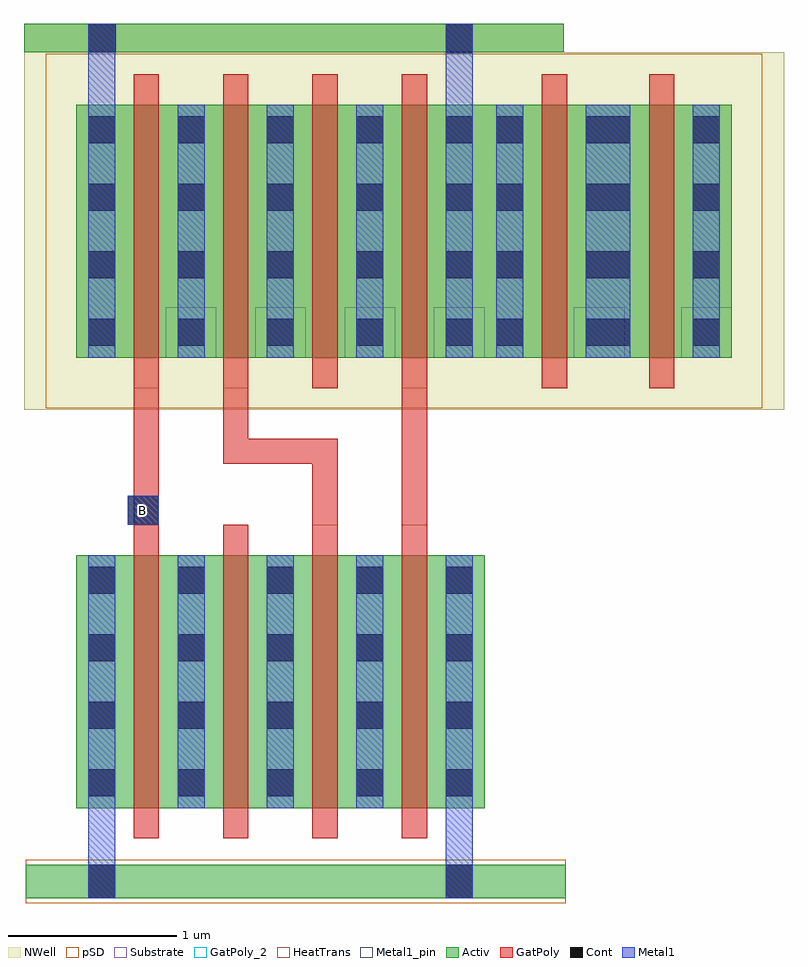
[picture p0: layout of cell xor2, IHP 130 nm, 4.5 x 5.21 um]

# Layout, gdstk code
import gdstk
lib = gdstk.Library(unit=1e-6, precision=5e-09)
def R(c, l, rs):  # rectangles x0, y0, x1, y1
    for r in rs: c.add(gdstk.rectangle(r[:2], r[2:], *l))
def A(c, l, x, y, w, h, nx, ny, dx, dy):  # array of equal rectangles
    R(c, l, [(x+i*dx, y+j*dy, x+i*dx+w, y+j*dy+h) for i in range(nx) for j in range(ny)])
Activ = (1, 0)
GatPoly = (5, 0)
GatPoly_2 = (5, 2)
Cont = (6, 0)
Metal1 = (8, 0)
Metal1_pin = (8, 2)
pSD = (14, 0)
NWell = (31, 0)
Substrate = (40, 0)
HeatTrans = (51, 0)

pmos_1 = lib.new_cell('pmos$1')
R(pmos_1, Activ, [(0,0,0.3,0.3), (0,0,0.83,1.5), (0.53,0,0.83,0.3)])
R(pmos_1, GatPoly, [(0.34,-0.18,0.49,1.68), (0.34,-0.18,0.49,1.68)])
A(pmos_1, Cont, 0.07, 0.07, 0.16, 0.16, 1, 4, 0, 0.4)
A(pmos_1, Cont, 0.6, 0.07, 0.16, 0.16, 1, 4, 0, 0.4)
R(pmos_1, Metal1, [(0.07,0,0.23,1.5), (0.07,0,0.23,1.5), (0.6,0,0.76,1.5), (0.6,0,0.76,1.5)])
R(pmos_1, pSD, [(-0.18,-0.3,1.01,1.8)])
R(pmos_1, NWell, [(-0.31,-0.31,1.14,1.81)])
R(pmos_1, Substrate, [(0.53,0,0.83,0.3)])
R(pmos_1, HeatTrans, [(0.34,-0.18,0.49,1.68)])
pmos_1.add(gdstk.Label('pmos', (0.415,0.75), layer=63, texttype=0))
pmos_1.add(gdstk.Label('pmos', (0.415,0.75), layer=51, texttype=0))

nmos_3 = lib.new_cell('nmos$3')
R(nmos_3, Activ, [(0,0,0.3,0.3), (0,0,0.83,1.5), (0.53,0,0.83,0.3)])
R(nmos_3, GatPoly, [(0.34,-0.18,0.49,1.68)])
R(nmos_3, GatPoly_2, [(0.34,-0.18,0.49,1.68)])
A(nmos_3, Cont, 0.07, 0.07, 0.16, 0.16, 1, 4, 0, 0.4)
A(nmos_3, Cont, 0.6, 0.07, 0.16, 0.16, 1, 4, 0, 0.4)
R(nmos_3, Metal1, [(0.07,0,0.23,1.5), (0.6,0,0.76,1.5)])
R(nmos_3, Metal1_pin, [(0.07,0,0.23,1.5), (0.6,0,0.76,1.5)])
R(nmos_3, HeatTrans, [(0.34,-0.18,0.49,1.68)])
nmos_3.add(gdstk.Label('nmos', (0.415,0.75), layer=63, texttype=0))
nmos_3.add(gdstk.Label('nmos', (0.415,0.75), layer=51, texttype=0))

xor2 = lib.new_cell('xor2')
R(xor2, Activ, [(-1.04,-2.6,2.16,-2.4), (-1.05,2.415,2.15,2.585)])
R(xor2, GatPoly, [(-0.4,-0.385,-0.25,0.425), (0.66,-0.385,0.81,-0.025), (1.19,-0.385,1.34,0.425), (0.13,-0.025,0.28,0.425), (0.13,-0.025,0.81,0.125)])
R(xor2, Cont, [(-0.67,-2.6,-0.51,-2.4), (1.45,-2.6,1.61,-2.4), (-0.435,-0.385,-0.25,-0.215), (-0.67,2.415,-0.505,2.585), (1.45,2.415,1.61,2.585)])
R(xor2, Metal1, [(-0.67,-2.6,-0.51,-1.995), (1.45,-2.6,1.61,-1.995), (-0.435,-0.385,-0.25,-0.215), (-0.67,2.035,-0.51,2.585), (1.45,2.035,1.61,2.585)])
R(xor2, Metal1_pin, [(-0.67,-2.6,-0.51,-2.4), (1.45,-2.6,1.61,-2.4), (-0.435,-0.385,-0.25,-0.215), (1.45,2.41,1.61,2.585), (-0.67,2.415,-0.51,2.585)])
R(xor2, pSD, [(-1.04,-2.63,2.16,-2.37)])
R(xor2, NWell, [(-1.05,2.415,2.15,2.585)])
xor2.add(gdstk.Reference(pmos_1, (-0.74,0.605)))
xor2.add(gdstk.Reference(pmos_1, (-0.21,0.605)))
xor2.add(gdstk.Reference(pmos_1, (0.32,0.605)))
xor2.add(gdstk.Reference(pmos_1, (0.85,0.605)))
xor2.add(gdstk.Reference(pmos_1, (2.315,0.605)))
xor2.add(gdstk.Reference(nmos_3, (-0.74,-2.065)))
xor2.add(gdstk.Reference(nmos_3, (0.32,-2.065)))
xor2.add(gdstk.Reference(nmos_3, (-0.21,-2.065)))
xor2.add(gdstk.Reference(nmos_3, (0.85,-2.065)))
xor2.add(gdstk.Reference(pmos_1, (1.68,0.605)))
xor2.add(gdstk.Label('B', (-0.345,-0.3), layer=8, texttype=2))

lib.write_gds('xor2.gds')
